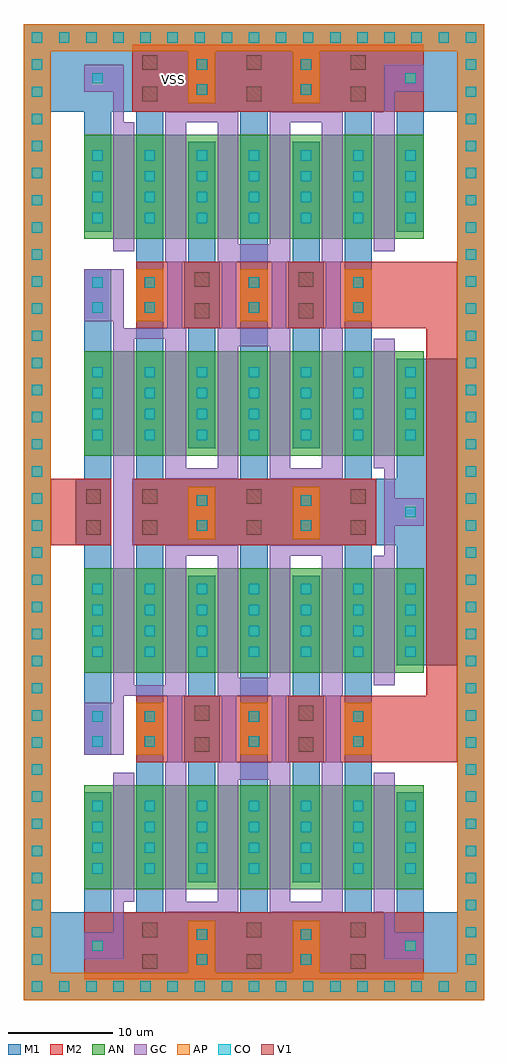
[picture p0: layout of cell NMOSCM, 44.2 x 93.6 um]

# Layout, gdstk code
from math import pi, radians
import gdstk
lib = gdstk.Library(unit=1e-6, precision=1e-09)
def R(c, l, rs):  # rectangles x0, y0, x1, y1
    for r in rs: c.add(gdstk.rectangle(r[:2], r[2:], *l))
def A(c, l, x, y, w, h, nx, ny, dx, dy):  # array of equal rectangles
    R(c, l, [(x+i*dx, y+j*dy, x+i*dx+w, y+j*dy+h) for i in range(nx) for j in range(ny)])
AP = (3, 1)
AN = (3, 2)
GC = (8, 1)
CO = (11, 0)
M1 = (13, 0)
V1 = (19, 0)
M2 = (20, 0)

cont_p = lib.new_cell('cont_p')
R(cont_p, AP, [(-1.3,-1.3,1.3,1.3)])
R(cont_p, CO, [(-0.5,-0.5,0.5,0.5)])
R(cont_p, M1, [(-1.3,-1.3,1.3,1.3)])

cont_g_3 = lib.new_cell('cont_g$3')
R(cont_g_3, GC, [(-1.3,-1.3,1.3,1.3)])
R(cont_g_3, CO, [(-0.5,-0.5,0.5,0.5)])
R(cont_g_3, M1, [(-1.3,-1.3,1.3,1.3)])

via_1_5 = lib.new_cell('via_1$5')
R(via_1_5, M1, [(-1.7,-1.7,1.7,1.7)])
R(via_1_5, V1, [(-0.7,-0.7,0.7,0.7)])
R(via_1_5, M2, [(-1.7,-1.7,1.7,1.7)])

fet_n_3 = lib.new_cell('fet_n$3')
R(fet_n_3, AN, [(-3.8,-5,3.8,5)])
A(fet_n_3, CO, -3, -3.5, 1, 1, 1, 4, 0, 2)
A(fet_n_3, CO, 2, -3.5, 1, 1, 1, 4, 0, 2)
R(fet_n_3, M1, [(-3.8,-4.3,-1.2,4.3), (1.2,-4.3,3.8,4.3)])
fet_n_3.add(gdstk.FlexPath([(0,-6.2),(0,6.2)], 2, ends="flush", simple_path=True, layer=8, datatype=1))  # GC

fet_n = lib.new_cell('fet_n')
R(fet_n, AN, [(-11.3,-5,11.3,5)])
A(fet_n, CO, -10.5, -3.5, 1, 1, 5, 4, 5, 2)
A(fet_n, M1, -11.3, -4.3, 2.6, 8.6, 5, 1, 5, 0)
fet_n.add(gdstk.FlexPath([(2.5,-6.2),(2.5,6.2)], 2, ends="flush", simple_path=True, layer=8, datatype=1))  # GC
fet_n.add(gdstk.FlexPath([(-2.5,-6.2),(-2.5,6.2)], 2, ends="flush", simple_path=True, layer=8, datatype=1))  # GC
fet_n.add(gdstk.FlexPath([(7.5,-6.2),(7.5,6.2)], 2, ends="flush", simple_path=True, layer=8, datatype=1))  # GC
fet_n.add(gdstk.FlexPath([(-7.5,-6.2),(-7.5,6.2)], 2, ends="flush", simple_path=True, layer=8, datatype=1))  # GC

via_1_1_2 = lib.new_cell('via_1$1$2')
R(via_1_1_2, M1, [(-1.7,-1.7,1.7,1.7)])
R(via_1_1_2, V1, [(-0.7,-0.7,0.7,0.7)])
R(via_1_1_2, M2, [(-1.7,-1.7,1.7,1.7)])

nmos80um = lib.new_cell('NMOS80um')
R(nmos80um, GC, [(-28.5,-17.6,-21.5,-16.6), (-18.5,-17.6,-11.5,-16.6), (-23.5,-4.9,-16.5,-3.2), (-28.5,-4.2,-26.5,-3.2), (-13.5,-4.2,-11.5,-3.2), (-28.5,3.2,-26.5,4.2), (-23.5,3.2,-16.5,4.9), (-13.5,3.2,-11.5,4.2), (-28.5,16.6,-21.5,17.6), (-18.5,16.6,-11.5,17.6)])
nmos80um.add(gdstk.FlexPath([(-30,-17.6),(-30,-14.7)], 2.6, ends="flush", simple_path=True, layer=13, datatype=0))  # M1
nmos80um.add(gdstk.FlexPath([(-30,18.5),(-30,14.7)], 2.6, ends="flush", simple_path=True, layer=13, datatype=0))  # M1
nmos80um.add(gdstk.FlexPath([(-5,-17.6),(-5,-14.7)], 2.6, ends="flush", simple_path=True, layer=13, datatype=0))  # M1
nmos80um.add(gdstk.FlexPath([(-10,-17.6),(-10,-14.7)], 2.6, ends="flush", simple_path=True, layer=13, datatype=0))  # M1
nmos80um.add(gdstk.FlexPath([(-10,18.5),(-10,14.7)], 2.6, ends="flush", simple_path=True, layer=13, datatype=0))  # M1
nmos80um.add(gdstk.FlexPath([(-5,-17.6),(-5,-14.7)], 2.6, ends="flush", simple_path=True, layer=13, datatype=0))  # M1
nmos80um.add(gdstk.FlexPath([(-5,18.5),(-5,14.7)], 2.6, ends="flush", simple_path=True, layer=13, datatype=0))  # M1
nmos80um.add(gdstk.FlexPath([(-10,-17.6),(-10,-14.7)], 2.6, ends="flush", simple_path=True, layer=13, datatype=0))  # M1
nmos80um.add(gdstk.FlexPath([(-30,-17.6),(-30,-14.7)], 2.6, ends="flush", simple_path=True, layer=13, datatype=0))  # M1
nmos80um.add(gdstk.FlexPath([(-20,-17.6),(-20,-14.7)], 2.6, ends="flush", simple_path=True, layer=13, datatype=0))  # M1
nmos80um.add(gdstk.FlexPath([(-30,2.5),(-30,6.1)], 2.6, ends="flush", simple_path=True, layer=13, datatype=0))  # M1
nmos80um.add(gdstk.FlexPath([(-10,2.5),(-10,6.1)], 2.6, ends="flush", simple_path=True, layer=13, datatype=0))  # M1
nmos80um.add(gdstk.FlexPath([(-20,-6.1),(-20,-2.5),(-20,-2.5)], 2.6, ends="flush", simple_path=True, layer=13, datatype=0))  # M1
nmos80um.add(gdstk.FlexPath([(-20,2.5),(-20,6.1)], 2.6, ends="flush", simple_path=True, layer=13, datatype=0))  # M1
nmos80um.add(gdstk.FlexPath([(-10,-6.1),(-10,-2.5),(-10,-2.5)], 2.6, ends="flush", simple_path=True, layer=13, datatype=0))  # M1
nmos80um.add(gdstk.FlexPath([(-30,-6.1),(-30,-2.5),(-30,-2.5)], 2.6, ends="flush", simple_path=True, layer=13, datatype=0))  # M1
nmos80um.add(gdstk.FlexPath([(-20,18.5),(-20,14.7)], 2.6, ends="flush", simple_path=True, layer=13, datatype=0))  # M1
nmos80um.add(gdstk.FlexPath([(-10,18.5),(-10,14.7)], 2.6, ends="flush", simple_path=True, layer=13, datatype=0))  # M1
nmos80um.add(gdstk.FlexPath([(-15,-6.1),(-15,-3.2)], 2.6, ends="flush", simple_path=True, layer=13, datatype=0))  # M1
nmos80um.add(gdstk.FlexPath([(-15,3.2),(-15,6.1)], 2.6, ends="flush", simple_path=True, layer=13, datatype=0))  # M1
nmos80um.add(gdstk.FlexPath([(-25,3.2),(-25,6.1)], 2.6, ends="flush", simple_path=True, layer=13, datatype=0))  # M1
nmos80um.add(gdstk.FlexPath([(-25,-6.1),(-25,-3.2)], 2.6, ends="flush", simple_path=True, layer=13, datatype=0))  # M1
nmos80um.add(gdstk.FlexPath([(-12.4,-3.2),(-12.4,3.2),(-12.4,3.2)], 1.4, ends="flush", simple_path=True, layer=8, datatype=1))  # GC
nmos80um.add(gdstk.FlexPath([(-22.4,-3.2),(-22.4,3.2),(-22.4,3.2)], 1.4, ends="flush", simple_path=True, layer=8, datatype=1))  # GC
nmos80um.add(gdstk.FlexPath([(-17.6,-3.2),(-17.6,3.2),(-17.6,3.2)], 1.4, ends="flush", simple_path=True, layer=8, datatype=1))  # GC
nmos80um.add(gdstk.FlexPath([(-27.6,-3.2),(-27.6,3.2),(-27.6,3.2)], 1.4, ends="flush", simple_path=True, layer=8, datatype=1))  # GC
nmos80um.add(gdstk.FlexPath([(-31.3,0),(-8.7,0)], 6.4, ends="flush", simple_path=True, layer=20, datatype=0))  # M2
nmos80um.add(gdstk.Reference(fet_n_3, (-32.5,10.4)))
nmos80um.add(gdstk.Reference(fet_n_3, (-7.5,10.4), rotation=pi, x_reflection=True))
nmos80um.add(gdstk.Reference(fet_n, (-20,10.4)))
nmos80um.add(gdstk.Reference(fet_n_3, (-32.5,-10.4), x_reflection=True))
nmos80um.add(gdstk.Reference(fet_n_3, (-7.5,-10.4), rotation=pi))
r = gdstk.Reference(via_1_1_2, (-25,1.5), x_reflection=True); r.repetition = gdstk.Repetition(2, 2, v1=(10,0), v2=(0,-3)); nmos80um.add(r)
nmos80um.add(gdstk.Reference(fet_n, (-20,-10.4), x_reflection=True))
r = gdstk.Reference(cont_p, (-10,-1.2)); r.repetition = gdstk.Repetition(1, 2, v1=(0,0), v2=(0,2.4)); nmos80um.add(r)
r = gdstk.Reference(cont_p, (-20,-1.2)); r.repetition = gdstk.Repetition(1, 2, v1=(0,0), v2=(0,2.4)); nmos80um.add(r)
r = gdstk.Reference(cont_p, (-30,-1.2)); r.repetition = gdstk.Repetition(1, 2, v1=(0,0), v2=(0,2.4)); nmos80um.add(r)

cont_g_3_1_1 = lib.new_cell('cont_g$3$1$1')
R(cont_g_3_1_1, GC, [(-1.3,-1.3,1.3,1.3)])
R(cont_g_3_1_1, CO, [(-0.5,-0.5,0.5,0.5)])
R(cont_g_3_1_1, M1, [(-1.3,-1.3,1.3,1.3)])

cont_g_3_1 = lib.new_cell('cont_g$3$1')
R(cont_g_3_1, GC, [(-1.3,-1.3,1.3,1.3)])
R(cont_g_3_1, CO, [(-0.5,-0.5,0.5,0.5)])
R(cont_g_3_1, M1, [(-1.3,-1.3,1.3,1.3)])

nmoscm = lib.new_cell('NMOSCM')
A(nmoscm, GC, 100.4, 8.9, 0.2, 2.6, 1, 3, 0, 41.6)
R(nmoscm, GC, [(73.2,8.9,73.4,11.5), (73.4,8.9,74.4,14.4), (99.4,8.9,100.4,14.4), (98.4,13.4,99.4,14.4), (73.2,28.5,73.4,33.5), (73.4,34.2,78.4,35.2), (73.4,47.6,75.4,56), (99.4,47.6,100.4,56), (73.4,68.4,80.4,69.4), (73.2,70.1,73.4,75.1), (73.4,89.2,74.4,94.7), (98.4,89.2,99.4,90.2), (99.4,89.2,100.4,94.7), (73.2,92.1,73.4,94.7)])
A(nmoscm, M1, 98.6, 7, 4.6, 6.4, 1, 3, 0, 41.6)
R(nmoscm, M1, [(103.2,37.1,106.4,66.5)])
nmoscm.add(gdstk.FlexPath([(71.9,87.3),(71.9,91)], 2.6, ends="flush", simple_path=True, layer=13, datatype=0))  # M1
nmoscm.add(gdstk.FlexPath([(71.9,16.3),(71.9,13.4)], 2.6, ends="flush", simple_path=True, layer=13, datatype=0))  # M1
nmoscm.add(gdstk.FlexPath([(67.4,93.4),(106.4,93.4)], 6.4, ends="flush", simple_path=True, layer=13, datatype=0))  # M1
nmoscm.add(gdstk.FlexPath([(67.4,10.2),(106.4,10.2)], 6.4, ends="flush", simple_path=True, layer=13, datatype=0))  # M1
nmoscm.add(gdstk.FlexPath([(71.9,45.7),(71.9,57.9)], 2.6, ends="flush", simple_path=True, layer=13, datatype=0))  # M1
nmoscm.add(gdstk.FlexPath([(71.9,37.1),(71.9,32.4)], 2.6, ends="flush", simple_path=True, layer=13, datatype=0))  # M1
nmoscm.add(gdstk.FlexPath([(71.9,66.5),(71.9,71.3)], 2.6, ends="flush", simple_path=True, layer=13, datatype=0))  # M1
nmoscm.add(gdstk.FlexPath([(75.2,51.8),(103.2,51.8)], 6.4, ends="flush", simple_path=True, layer=13, datatype=0))  # M1
nmoscm.add(gdstk.FlexPath([(73.9,28.5),(73.9,35.2)], 1, ends="flush", simple_path=True, layer=8, datatype=1))  # GC
nmoscm.add(gdstk.FlexPath([(73.9,68.4),(73.9,75.1)], 1, ends="flush", simple_path=True, layer=8, datatype=1))  # GC
nmoscm.add(gdstk.FlexPath([(104.9,27.8),(104.9,75.8)], 3, ends="flush", simple_path=True, layer=20, datatype=0))  # M2
nmoscm.add(gdstk.FlexPath([(106.4,31),(75.6,31)], 6.4, ends="flush", simple_path=True, layer=20, datatype=0))  # M2
nmoscm.add(gdstk.FlexPath([(75.6,72.6),(106.4,72.6)], 6.4, ends="flush", simple_path=True, layer=20, datatype=0))  # M2
nmoscm.add(gdstk.FlexPath([(73.2,51.8),(67.4,51.8)], 6.4, ends="flush", simple_path=True, layer=20, datatype=0))  # M2
nmoscm.add(gdstk.FlexPath([(75.2,93.4),(103.2,93.4)], 6.4, ends="flush", simple_path=True, layer=20, datatype=0))  # M2
nmoscm.add(gdstk.FlexPath([(70.6,10.2),(103.2,10.2)], 6.4, ends="flush", simple_path=True, layer=20, datatype=0))  # M2
nmoscm.add(gdstk.FlexPath([(75.2,51.8),(98.6,51.8)], 6.4, ends="flush", simple_path=True, layer=20, datatype=0))  # M2
r = gdstk.Reference(cont_p, (107.7,97.3), x_reflection=True); r.repetition = gdstk.Repetition(1, 36, v1=(0,0), v2=(0,-2.6)); nmoscm.add(r)
r = gdstk.Reference(cont_p, (107.7,6.3), rotation=pi); r.repetition = gdstk.Repetition(17, 1, v1=(-2.6,0), v2=(0,0)); nmoscm.add(r)
nmoscm.add(gdstk.Reference(cont_g_3, (101.9,10.2)))
r = gdstk.Reference(cont_g_3, (71.9,71.4), rotation=pi/2); r.repetition = gdstk.Repetition(2, 1, v1=(0,2.4), v2=(0,0)); nmoscm.add(r)
r = gdstk.Reference(cont_p, (91.9,8.9)); r.repetition = gdstk.Repetition(1, 2, v1=(0,0), v2=(0,2.4)); nmoscm.add(r)
r = gdstk.Reference(cont_p, (81.9,8.9)); r.repetition = gdstk.Repetition(1, 2, v1=(0,0), v2=(0,2.4)); nmoscm.add(r)
r = gdstk.Reference(via_1_5, (71.5,50.3)); r.repetition = gdstk.Repetition(1, 2, v1=(0,0), v2=(0,3)); nmoscm.add(r)
nmoscm.add(gdstk.Reference(nmos80um, (106.9,72.6)))
r = gdstk.Reference(via_1_5, (96.9,11.7), rotation=pi); r.repetition = gdstk.Repetition(3, 2, v1=(-10,0), v2=(0,-3)); nmoscm.add(r)
nmoscm.add(gdstk.Reference(cont_g_3, (101.9,93.4), x_reflection=True))
nmoscm.add(gdstk.Reference(cont_g_3, (101.9,51.8)))
r = gdstk.Reference(cont_p, (91.9,92.3)); r.repetition = gdstk.Repetition(1, 2, v1=(0,0), v2=(0,2.4)); nmoscm.add(r)
r = gdstk.Reference(cont_p, (81.9,92.3)); r.repetition = gdstk.Repetition(1, 2, v1=(0,0), v2=(0,2.4)); nmoscm.add(r)
nmoscm.add(gdstk.Reference(cont_g_3_1_1, (71.9,10.2), rotation=pi, x_reflection=True))
r = gdstk.Reference(via_1_5, (96.9,94.9), rotation=pi); r.repetition = gdstk.Repetition(3, 2, v1=(-10,0), v2=(0,-3)); nmoscm.add(r)
r = gdstk.Reference(cont_p, (91.9,50.5)); r.repetition = gdstk.Repetition(1, 2, v1=(0,0), v2=(0,2.4)); nmoscm.add(r)
r = gdstk.Reference(cont_p, (81.9,50.5)); r.repetition = gdstk.Repetition(1, 2, v1=(0,0), v2=(0,2.4)); nmoscm.add(r)
r = gdstk.Reference(cont_g_3, (71.9,29.8), rotation=pi/2); r.repetition = gdstk.Repetition(2, 1, v1=(0,2.4), v2=(0,0)); nmoscm.add(r)
r = gdstk.Reference(cont_p, (107.7,97.3), rotation=pi, x_reflection=True); r.repetition = gdstk.Repetition(17, 1, v1=(-2.6,0), v2=(0,0)); nmoscm.add(r)
nmoscm.add(gdstk.Reference(nmos80um, (106.9,31), x_reflection=True))
r = gdstk.Reference(via_1_5, (76.9,53.3), x_reflection=True); r.repetition = gdstk.Repetition(3, 2, v1=(10,0), v2=(0,-3)); nmoscm.add(r)
nmoscm.add(gdstk.Reference(cont_g_3_1, (71.9,93.4), rotation=pi))
r = gdstk.Reference(cont_p, (66.1,8.9)); r.repetition = gdstk.Repetition(1, 35, v1=(0,0), v2=(0,2.6)); nmoscm.add(r)
nmoscm.add(gdstk.Label('VSS', (79.2,93.3), layer=49, texttype=0))

lib.write_gds('NMOSCM.gds')
